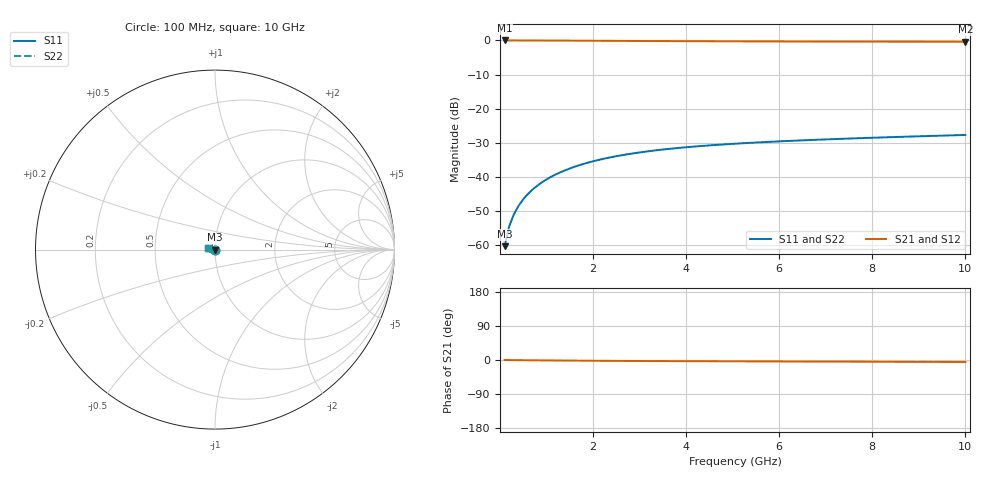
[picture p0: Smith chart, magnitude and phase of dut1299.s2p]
! Touchstone file exported from HFSS 2024.1.0
!  File:  C:/UserFiles/LocalFiles/RDL_TSV_Batchsim/temp_TSV1_1299_1780256971.aedt
!  Generated:  03:55:55 AM Jun  1, 2026
!  Design:  TSV1
!  Project:  temp_TSV1_1299_1780256971
!  Setup:  Setup1
!  Solution:  Sweep
! Variables:
!  dtsv = 7.86um
!  hbump = 3um
!  htsv = 81.29um
!  lrdl = 252.1521522um
!  p = 40
!  p1 = 47.87um
!  t = 500um
!  trdl = 3um
!  wrdl = 24.89489489um
# GHz S MA R 50.000000
! Terminal data exported
! Port[1] = TSV22_T1
! Port[2] = TSV22_T2
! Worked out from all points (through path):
!   100 points, 100 MHz to 10 GHz, reference 50 ohm
!   highest |S21| = 0.00 dB at 100 MHz (marker M1); lowest = -0.4 dB at 10 GHz (marker M2)
!   lowest |S11| = -60.3 dB at 100 MHz (marker M3), VSWR 1.00, Z = 50 - j0.094 ohm
!   |S11| at or under -10 dB: start of sweep to end of sweep
!   |S22| runs from -60.3 to -27.7 dB; largest |S21 - S12| = 3e-15
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0.1  0.0009622 -77.6  0.9997 -0.1  0.9997 -0.1  0.0009622 -77.6
! Gamma 0 0 0 0
! Port Impedance 50 0 50 0
0.2  0.001893 -86.3  0.9996 -0.2  0.9996 -0.2  0.001893 -86.3
0.3  0.00283 -90.6  0.9995 -0.3  0.9995 -0.3  0.00283 -90.6
0.4  0.003762 -93.7  0.9992 -0.5  0.9992 -0.5  0.003762 -93.7
0.5  0.004688 -96.3  0.999 -0.6  0.999 -0.6  0.004688 -96.3
0.6  0.005606 -98.6  0.9986 -0.7  0.9986 -0.7  0.005606 -98.6
0.7  0.006514 -100.8  0.9982 -0.8  0.9982 -0.8  0.006514 -100.8
0.8  0.00741 -102.9  0.9978 -0.9  0.9978 -0.9  0.00741 -102.9
0.9  0.008293 -104.9  0.9973 -1.0  0.9973 -1.0  0.008293 -104.9
1.1  0.01002 -108.7  0.9962 -1.2  0.9962 -1.2  0.01002 -108.7
1.4  0.01248 -114.1  0.9943 -1.5  0.9943 -1.5  0.01248 -114.1
1.6  0.01403 -117.6  0.9929 -1.7  0.9929 -1.7  0.01403 -117.6
1.8  0.0155 -120.9  0.9914 -1.8  0.9914 -1.8  0.0155 -120.9
2.1  0.01757 -125.7  0.9891 -2.0  0.9891 -2.0  0.01757 -125.7
2.5  0.02007 -131.6  0.986 -2.3  0.986 -2.3  0.02007 -131.6
2.9  0.02228 -137.2  0.983 -2.6  0.983 -2.6  0.02228 -137.2
3.4  0.02469 -143.5  0.9794 -2.8  0.9794 -2.8  0.02469 -143.5
4.2  0.02788 -152.4  0.9744 -3.2  0.9744 -3.2  0.02788 -152.4
5.1  0.03075 -161.1  0.9698 -3.6  0.9698 -3.6  0.03075 -161.1
6.7  0.03473 -173.9  0.9638 -4.1  0.9638 -4.1  0.03473 -173.9
8.4  0.03818 175.2  0.9596 -4.7  0.9596 -4.7  0.03818 175.2
10  0.04113 166.7  0.9568 -5.3  0.9568 -5.3  0.04113 166.7
